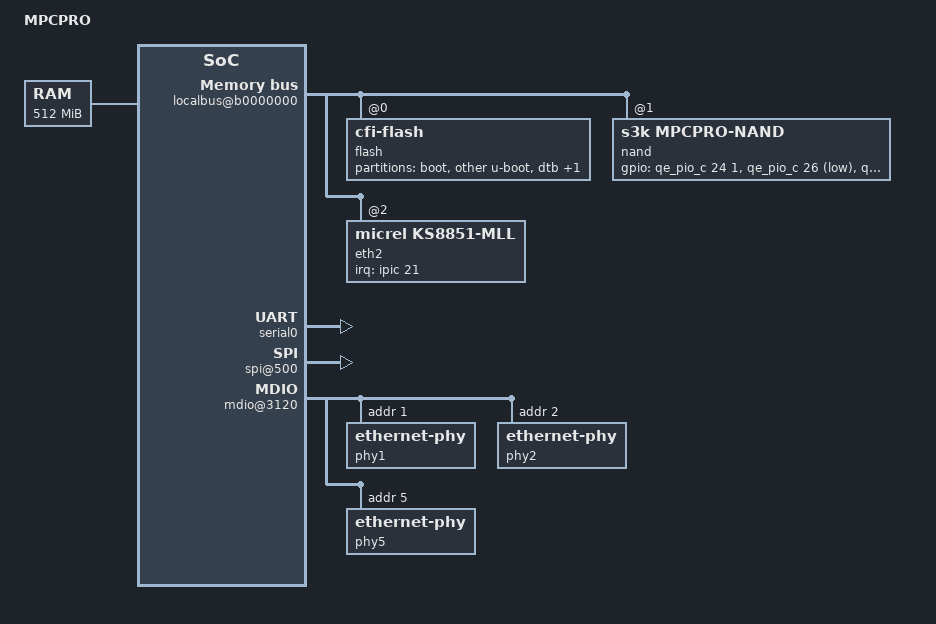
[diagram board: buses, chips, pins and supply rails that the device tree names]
/*
 * MPC8321E Device Tree Source
 *
 * Copyright 2007 Freescale Semiconductor Inc.
 *
 * This program is free software; you can redistribute  it and/or modify it
 * under  the terms of  the GNU General  Public License as published by the
 * Free Software Foundation;  either version 2 of the  License, or (at your
 * option) any later version.
 */

/dts-v1/;

/ {
	model = "MPCPRO";
	compatible = "CMPCPRO", "MPC8321E", "MPC8323ERDB", "MPC832xRDB", "MPC83xxRDB";
	#address-cells = <1>;
	#size-cells = <1>;

	aliases {
		serial0 = &serial0;
//		serial1 = &serial1;
	};

	cpus {
		#address-cells = <1>;
		#size-cells = <0>;

		PowerPC,8321@0 {
			device_type = "cpu";
			reg = <0x0>;
			d-cache-line-size = <0x20>;	// 32 bytes
			i-cache-line-size = <0x20>;	// 32 bytes
			d-cache-size = <16384>;	// L1, 16K
			i-cache-size = <16384>;	// L1, 16K
			timebase-frequency = <0>;
			bus-frequency = <0>;
			clock-frequency = <0>;
		};
	};

	memory {
		device_type = "memory";
		reg = <0x00000000 0x20000000>;
	};

	localbus@b0000000 {
		#address-cells = <2>;
		#size-cells = <1>;
		compatible = "simple-bus";
		ranges = <0 0x0 0x40000000 0x04000000	// Boot Flash
			  1 0x0 0xa0000000 0x00008000	// Nand Flash
			  2 0x0 0x92000000 0x10000000>;	// Periphs
		reg = <0xb0000000 0x00000200>;
		bus-frequency = <0>;

		flash@0,0 {
			#address-cells = <1>;
			#size-cells = <1>;
			compatible = "cfi-flash";
			reg = <0x0 0x00000000 0x4000000>;
			bank-width = <2>;
			device-width = <2>;
			partition@0 {
				label = "boot";
				reg = <0x0 0x100000>;
			};
			partition@100000 {
				label = "other u-boot";
				reg = <0x100000 0x200000>;
			};
			partition@300000 {
				label = "dtb";
				reg = <0x300000 0x100000>;
			};
			partition@400000 {
				label = "kernel";
				reg = <0x400000 0x300000>;
			};
		};

		nand@1,0 {
			compatible = "s3k,mpcpro-nand";
			reg = <1 0x0 0x01>;
			#address-cells = <1>;
			#size-cells = <1>;
			gpios = <&qe_pio_c 24 1 	// RDY
				 0			// nCE, we use chip select
				 &qe_pio_c 26 1		// ALE
				 &qe_pio_c 25 1		// CLE
				 0>;			// nwp
			//partition@0 {
			//	label = "mpcpro-nand";
			//	reg = <0x0 0x4000>;
			//};
		};

		eth2@2,0 {
			compatible = "micrel,ks8851-mll";
			reg =  <2 0x00 0xff
				2 0x100 0xff>;
			interrupts = <21 0x8>;
			interrupt-parent = <&ipic>;
		};
	};

	soc8321@b0000000 {
		#address-cells = <1>;
		#size-cells = <1>;
		device_type = "soc";
		compatible = "simple-bus";
		ranges = <0x0 0xb0000000 0x00100000>;
		reg = <0xb0000000 0x00000200>;
		bus-frequency = <0>;
		
		wdt@200 {
			device_type = "watchdog";
			compatible = "mpc83xx_wdt";
			reg = <0x200 0x100>;
		};

		pmc: power@b00 {
			compatible = "fsl,mpc8323-pmc", "fsl,mpc8349-pmc";
			reg = <0xb00 0x100 0xa00 0x100>;
			interrupts = <80 0x8>;
			interrupt-parent = <&ipic>;
		};

		serial0: serial@4500 {
			cell-index = <0>;
			device_type = "serial";
			compatible = "fsl,ns16550", "ns16550";
			reg = <0x4500 0x100>;
			clock-frequency = <0>;
			interrupts = <9 0x8>;
			interrupt-parent = <&ipic>;
		};

//		serial1: serial@4600 {
//			cell-index = <1>;
//			device_type = "serial";
//			compatible = "fsl,ns16550", "ns16550";
//			reg = <0x4600 0x100>;
//			clock-frequency = <0>;
//			interrupts = <10 0x8>;
//			interrupt-parent = <&ipic>;
//		};

		dma@82a8 {
			#address-cells = <1>;
			#size-cells = <1>;
			compatible = "fsl,mpc8323-dma", "fsl,elo-dma";
			reg = <0x82a8 4>;
			ranges = <0 0x8100 0x1a8>;
			interrupt-parent = <&ipic>;
			interrupts = <71 8>;
			cell-index = <0>;
			dma-channel@0 {
				compatible = "fsl,mpc8323-dma-channel", "fsl,elo-dma-channel";
				reg = <0 0x80>;
				cell-index = <0>;
				interrupt-parent = <&ipic>;
				interrupts = <71 8>;
			};
			dma-channel@80 {
				compatible = "fsl,mpc8323-dma-channel", "fsl,elo-dma-channel";
				reg = <0x80 0x80>;
				cell-index = <1>;
				interrupt-parent = <&ipic>;
				interrupts = <71 8>;
			};
			dma-channel@100 {
				compatible = "fsl,mpc8323-dma-channel", "fsl,elo-dma-channel";
				reg = <0x100 0x80>;
				cell-index = <2>;
				interrupt-parent = <&ipic>;
				interrupts = <71 8>;
			};
			dma-channel@180 {
				compatible = "fsl,mpc8323-dma-channel", "fsl,elo-dma-channel";
				reg = <0x180 0x28>;
				cell-index = <3>;
				interrupt-parent = <&ipic>;
				interrupts = <71 8>;
			};
		};

		crypto@30000 {
			compatible = "fsl,sec2.2", "fsl,sec2.1", "fsl,sec2.0";
			reg = <0x30000 0x10000>;
			interrupts = <11 0x8>;
			interrupt-parent = <&ipic>;
			fsl,num-channels = <1>;
			fsl,channel-fifo-len = <24>;
			fsl,exec-units-mask = <0x4c>;
			fsl,descriptor-types-mask = <0x0122003f>;
			sleep = <&pmc 0x03000000>;
		};

		ipic:pic@700 {
			interrupt-controller;
			#address-cells = <0>;
			#interrupt-cells = <2>;
			reg = <0x700 0x100>;
			device_type = "ipic";
		};

		par_io@1400 {
			#address-cells = <1>;
			#size-cells = <1>;
			reg = <0x1400 0x100>;
			ranges = <3 0x1448 0x18>;
			compatible = "fsl,mpc8323-qe-pario";
			device_type = "par_io";
			num-ports = <7>;

			qe_pio_a: gpio-controller@1400 {
				#gpio-cells = <2>;
				compatible = "fsl,mpc8323-qe-pario-bank";
				reg = <0x1400 0x18>;
				gpio-controller;
			};

			qe_pio_b: gpio-controller@1418 {
				#gpio-cells = <2>;
				compatible = "fsl,mpc8323-qe-pario-bank";
				reg = <0x1418 0x18>;
				gpio-controller;
			};

			qe_pio_c: gpio-controller@1430 {
				#gpio-cells = <2>;
				compatible = "fsl,mpc8323-qe-pario-bank";
				reg = <0x1430 0x18>;
				gpio-controller;
			};

			qe_pio_d: gpio-controller@1448 {
				#gpio-cells = <2>;
				compatible = "fsl,mpc8323-qe-pario-bank";
				reg = <0x1448 0x18>;
				gpio-controller;
			};

			ucc2pio:ucc_pin@02 {
				pio-map = <
			/* port  pin  dir  open_drain  assignment  has_irq */
				3  4  3  0  2  0 	/* MDIO */
				3  5  1  0  2  0 	/* MDC */

				0 18  1  0  1  0	/* R1_TXD0 */
				0 19  1  0  1  0	/* R1_TXD1 */
				0 22  2  0  1  0	/* R1_RXD0 */
				0 23  2  0  1  0	/* R1_RXD1 */
				0 30  1  0  1  0	/* R1_TXEN */
				0 28  2  0  1  0	/* R1_CRS_DV */
				0 26  2  0  1  0	/* R1_RXER */
				3 10  2  0  3  0>;	/* R1_REF_CLK */
			};
			ucc3pio:ucc_pin@03 {
				pio-map = <
			/* port  pin  dir  open_drain  assignment  has_irq */
				1  0  1  0  1  0	/* R2_TXD0 */
				1  1  1  0  1  0	/* R2_TXD1 */
				1  4  2  0  1  0	/* R2_RXD0 */
				1  5  2  0  1  0	/* R2_RXD1 */
				1 12  1  0  1  0	/* R2_TXEN */
				1 10  2  0  1  0	/* R2_CRS_DV */
				1  8  2  0  1  0	/* R2_RXER */
				1 14  2  0  1  0>;	/* R2_REF_CLK */
			};
		};
	};

	qe@b0100000 {
		#address-cells = <1>;
		#size-cells = <1>;
		device_type = "qe";
		compatible = "fsl,qe";
		ranges = <0x0 0xb0100000 0x00100000>;
		reg = <0xb0100000 0x480>;
		brg-frequency = <0>;
		bus-frequency = <198000000>;
		fsl,qe-num-riscs = <1>;
		fsl,qe-num-snums = <28>;

		muram@10000 {
 			#address-cells = <1>;
 			#size-cells = <1>;
			compatible = "fsl,qe-muram", "fsl,cpm-muram";
			ranges = <0x0 0x00010000 0x00004000>;

			data-only@0 {
				compatible = "fsl,qe-muram-data",
					     "fsl,cpm-muram-data";
				reg = <0x0 0x4000>;
			};
		};

		spi@500 {
			cell-index = <1>;
			compatible = "fsl,spi";
			reg = <0x500 0x40>;
			interrupts = <1>;
			interrupt-parent = <&qeic>;
			mode = "cpu";
		};

		mdio@3120 {
			#address-cells = <1>;
			#size-cells = <0>;
			reg = <0x3120 0x18>;
			compatible = "fsl,ucc-mdio";

			phy1:ethernet-phy@1 {
				interrupt-parent = <&ipic>;
				reg = <0x1>;
				device_type = "ethernet-phy";
			};
			phy2:ethernet-phy@2 {
				interrupt-parent = <&ipic>;
				reg = <0x2>;	
				device_type = "ethernet-phy";
			};
			phy5:ethernet-phy@5 {
				interrupt-parent = <&ipic>;
				reg = <0x5>;	
				device_type = "ethernet-phy";
			};
		};

		qeic:interrupt-controller@80 {
			interrupt-controller;
			compatible = "fsl,qe-ic";
			#address-cells = <0>;
			#interrupt-cells = <1>;
			reg = <0x80 0x80>;
			big-endian;
			interrupts = <32 0x8 33 0x8>; //high:32 low:33
			interrupt-parent = <&ipic>;
		};
	};
};
